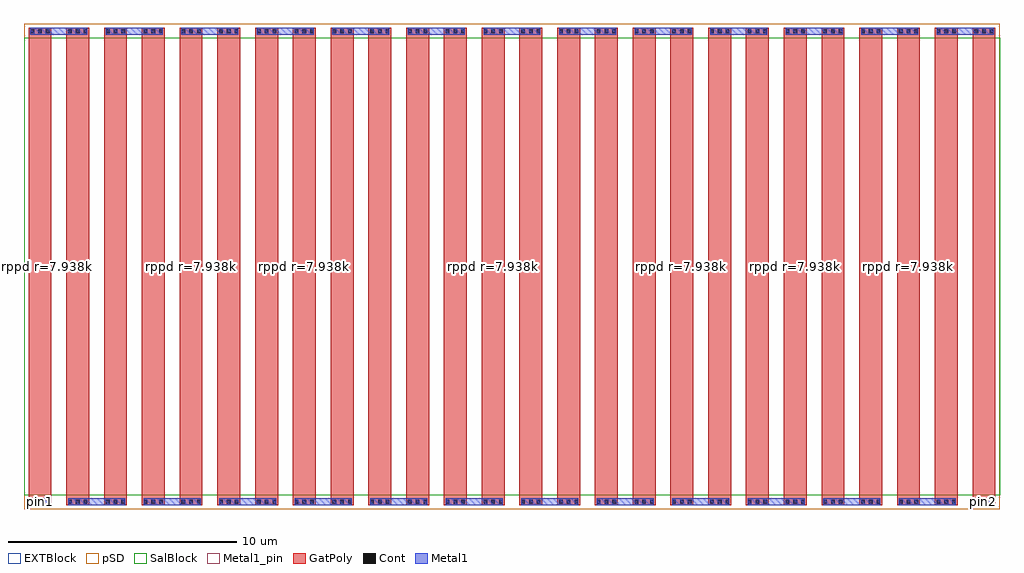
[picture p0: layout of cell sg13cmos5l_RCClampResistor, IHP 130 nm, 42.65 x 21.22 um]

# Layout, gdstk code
import gdstk
lib = gdstk.Library(unit=1e-6, precision=1e-09)
def R(c, l, rs):  # rectangles x0, y0, x1, y1
    for r in rs: c.add(gdstk.rectangle(r[:2], r[2:], *l))
def A(c, l, x, y, w, h, nx, ny, dx, dy):  # array of equal rectangles
    R(c, l, [(x+i*dx, y+j*dy, x+i*dx+w, y+j*dy+h) for i in range(nx) for j in range(ny)])
GatPoly = (5, 0)
Cont = (6, 0)
Metal1 = (8, 0)
Metal1_pin = (8, 2)
pSD = (14, 0)
SalBlock = (28, 0)
EXTBlock = (111, 0)

sg13cmos5l_rcclampresist = lib.new_cell('sg13cmos5l_RCClampResistor')
A(sg13cmos5l_rcclampresist, GatPoly, 0, 0, 1, 20.86, 26, 1, 1.65, 0)
A(sg13cmos5l_rcclampresist, Cont, 0.08, 0.07, 0.16, 0.16, 3, 2, 0.34, 20.56)
A(sg13cmos5l_rcclampresist, Cont, 1.73, 0.07, 0.16, 0.16, 3, 2, 0.34, 20.56)
A(sg13cmos5l_rcclampresist, Cont, 3.38, 0.07, 0.16, 0.16, 3, 2, 0.34, 20.56)
A(sg13cmos5l_rcclampresist, Cont, 5.03, 0.07, 0.16, 0.16, 3, 2, 0.34, 20.56)
A(sg13cmos5l_rcclampresist, Cont, 6.68, 0.07, 0.16, 0.16, 3, 2, 0.34, 20.56)
A(sg13cmos5l_rcclampresist, Cont, 8.33, 0.07, 0.16, 0.16, 3, 2, 0.34, 20.56)
A(sg13cmos5l_rcclampresist, Cont, 9.98, 0.07, 0.16, 0.16, 3, 2, 0.34, 20.56)
A(sg13cmos5l_rcclampresist, Cont, 11.63, 0.07, 0.16, 0.16, 3, 2, 0.34, 20.56)
A(sg13cmos5l_rcclampresist, Cont, 13.28, 0.07, 0.16, 0.16, 3, 2, 0.34, 20.56)
A(sg13cmos5l_rcclampresist, Cont, 14.93, 0.07, 0.16, 0.16, 3, 2, 0.34, 20.56)
A(sg13cmos5l_rcclampresist, Cont, 16.58, 0.07, 0.16, 0.16, 3, 2, 0.34, 20.56)
A(sg13cmos5l_rcclampresist, Cont, 18.23, 0.07, 0.16, 0.16, 3, 2, 0.34, 20.56)
A(sg13cmos5l_rcclampresist, Cont, 19.88, 0.07, 0.16, 0.16, 3, 2, 0.34, 20.56)
A(sg13cmos5l_rcclampresist, Cont, 21.53, 0.07, 0.16, 0.16, 3, 2, 0.34, 20.56)
A(sg13cmos5l_rcclampresist, Cont, 23.18, 0.07, 0.16, 0.16, 3, 2, 0.34, 20.56)
A(sg13cmos5l_rcclampresist, Cont, 24.83, 0.07, 0.16, 0.16, 3, 2, 0.34, 20.56)
A(sg13cmos5l_rcclampresist, Cont, 26.48, 0.07, 0.16, 0.16, 3, 2, 0.34, 20.56)
A(sg13cmos5l_rcclampresist, Cont, 28.13, 0.07, 0.16, 0.16, 3, 2, 0.34, 20.56)
A(sg13cmos5l_rcclampresist, Cont, 29.78, 0.07, 0.16, 0.16, 3, 2, 0.34, 20.56)
A(sg13cmos5l_rcclampresist, Cont, 31.43, 0.07, 0.16, 0.16, 3, 2, 0.34, 20.56)
A(sg13cmos5l_rcclampresist, Cont, 33.08, 0.07, 0.16, 0.16, 3, 2, 0.34, 20.56)
A(sg13cmos5l_rcclampresist, Cont, 34.73, 0.07, 0.16, 0.16, 3, 2, 0.34, 20.56)
A(sg13cmos5l_rcclampresist, Cont, 36.38, 0.07, 0.16, 0.16, 3, 2, 0.34, 20.56)
A(sg13cmos5l_rcclampresist, Cont, 38.03, 0.07, 0.16, 0.16, 3, 2, 0.34, 20.56)
A(sg13cmos5l_rcclampresist, Cont, 39.68, 0.07, 0.16, 0.16, 3, 2, 0.34, 20.56)
A(sg13cmos5l_rcclampresist, Cont, 41.33, 0.07, 0.16, 0.16, 3, 2, 0.34, 20.56)
A(sg13cmos5l_rcclampresist, Metal1, 1.73, -0.01, 2.49, 0.32, 12, 1, 3.3, 0)
A(sg13cmos5l_rcclampresist, Metal1, 0.08, 20.55, 2.49, 0.32, 13, 1, 3.3, 0)
R(sg13cmos5l_rcclampresist, Metal1, [(0.08,-0.01,0.92,0.31), (41.33,-0.01,42.17,0.31)])
R(sg13cmos5l_rcclampresist, Metal1_pin, [(0.08,-0.01,0.92,0.31), (41.33,-0.01,42.17,0.31)])
R(sg13cmos5l_rcclampresist, pSD, [(-0.18,-0.18,42.43,21.04)])
R(sg13cmos5l_rcclampresist, SalBlock, [(-0.2,0.43,42.45,20.43)])
R(sg13cmos5l_rcclampresist, EXTBlock, [(-0.18,-0.18,42.43,21.04)])
sg13cmos5l_rcclampresist.add(gdstk.Label('rppd r=7.938k', (33.5,10.43), layer=63, texttype=0))
sg13cmos5l_rcclampresist.add(gdstk.Label('rppd r=7.938k', (7.1,10.43), layer=63, texttype=0))
sg13cmos5l_rcclampresist.add(gdstk.Label('rppd r=7.938k', (36.8,10.43), layer=63, texttype=0))
sg13cmos5l_rcclampresist.add(gdstk.Label('rppd r=7.938k', (10.4,10.43), layer=63, texttype=0))
sg13cmos5l_rcclampresist.add(gdstk.Label('rppd r=7.938k', (30.2,10.43), layer=63, texttype=0))
sg13cmos5l_rcclampresist.add(gdstk.Label('rppd r=7.938k', (0.5,10.43), layer=63, texttype=0))
sg13cmos5l_rcclampresist.add(gdstk.Label('rppd r=7.938k', (28.55,10.43), layer=63, texttype=0))
sg13cmos5l_rcclampresist.add(gdstk.Label('rppd r=7.938k', (3.8,10.43), layer=63, texttype=0))
sg13cmos5l_rcclampresist.add(gdstk.Label('rppd r=7.938k', (20.3,10.43), layer=63, texttype=0))
sg13cmos5l_rcclampresist.add(gdstk.Label('rppd r=7.938k', (21.95,10.43), layer=63, texttype=0))
sg13cmos5l_rcclampresist.add(gdstk.Label('rppd r=7.938k', (23.6,10.43), layer=63, texttype=0))
sg13cmos5l_rcclampresist.add(gdstk.Label('rppd r=7.938k', (31.85,10.43), layer=63, texttype=0))
sg13cmos5l_rcclampresist.add(gdstk.Label('rppd r=7.938k', (12.05,10.43), layer=63, texttype=0))
sg13cmos5l_rcclampresist.add(gdstk.Label('rppd r=7.938k', (8.75,10.43), layer=63, texttype=0))
sg13cmos5l_rcclampresist.add(gdstk.Label('rppd r=7.938k', (35.15,10.43), layer=63, texttype=0))
sg13cmos5l_rcclampresist.add(gdstk.Label('rppd r=7.938k', (38.45,10.43), layer=63, texttype=0))
sg13cmos5l_rcclampresist.add(gdstk.Label('rppd r=7.938k', (41.75,10.43), layer=63, texttype=0))
sg13cmos5l_rcclampresist.add(gdstk.Label('rppd r=7.938k', (2.15,10.43), layer=63, texttype=0))
sg13cmos5l_rcclampresist.add(gdstk.Label('rppd r=7.938k', (17,10.43), layer=63, texttype=0))
sg13cmos5l_rcclampresist.add(gdstk.Label('rppd r=7.938k', (15.35,10.43), layer=63, texttype=0))
sg13cmos5l_rcclampresist.add(gdstk.Label('rppd r=7.938k', (40.1,10.43), layer=63, texttype=0))
sg13cmos5l_rcclampresist.add(gdstk.Label('rppd r=7.938k', (25.25,10.43), layer=63, texttype=0))
sg13cmos5l_rcclampresist.add(gdstk.Label('rppd r=7.938k', (13.7,10.43), layer=63, texttype=0))
sg13cmos5l_rcclampresist.add(gdstk.Label('rppd r=7.938k', (18.65,10.43), layer=63, texttype=0))
sg13cmos5l_rcclampresist.add(gdstk.Label('rppd r=7.938k', (26.9,10.43), layer=63, texttype=0))
sg13cmos5l_rcclampresist.add(gdstk.Label('rppd r=7.938k', (5.45,10.43), layer=63, texttype=0))
sg13cmos5l_rcclampresist.add(gdstk.Label('pin2', (41.75,0.15), layer=8, texttype=25))
sg13cmos5l_rcclampresist.add(gdstk.Label('pin1', (0.5,0.15), layer=8, texttype=25))

lib.write_gds('sg13cmos5l_RCClampResistor.gds')
